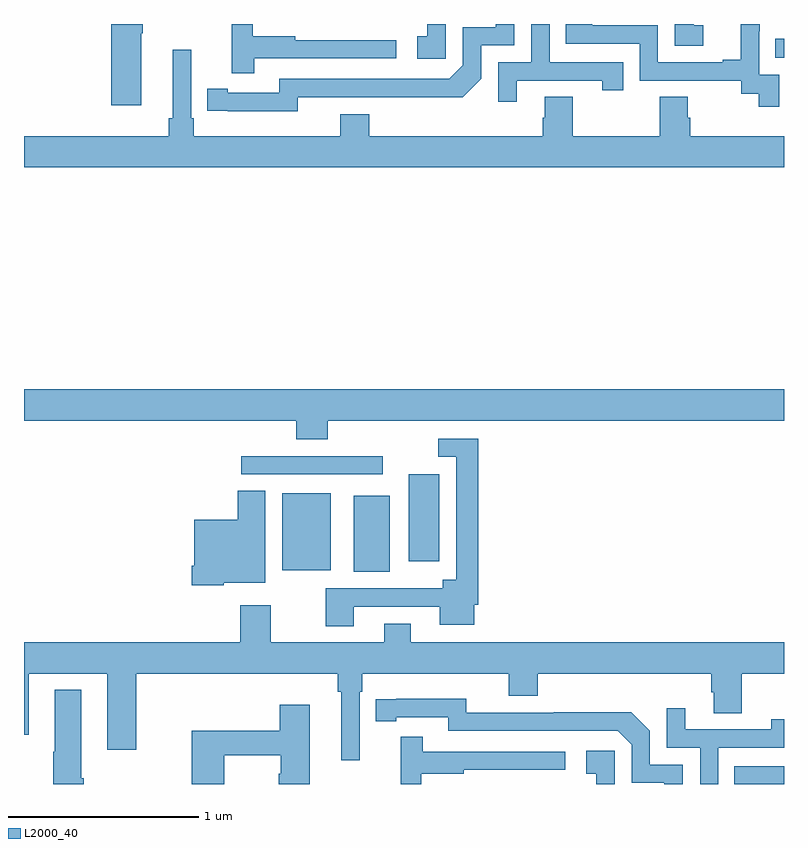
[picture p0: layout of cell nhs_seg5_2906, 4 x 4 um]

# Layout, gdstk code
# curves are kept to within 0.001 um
import gdstk
lib = gdstk.Library(unit=1e-6, precision=1e-09)
def R(c, l, rs):  # rectangles x0, y0, x1, y1
    for r in rs: c.add(gdstk.rectangle(r[:2], r[2:], *l))
def P(c, l, *ps):  # polygons
    for p in ps: c.add(gdstk.Polygon(p, *l))
L2000_40 = (2000, 40)

nhs_seg5_2906 = lib.new_cell('nhs_seg5_2906')
R(nhs_seg5_2906, L2000_40, [(282.739,902.799,283,902.892), (280.736,903.917,280.924,904.315), (280.358,903.923,280.615,904.33), (281.024,903.972,281.185,904.429), (280.143,904.428,280.888,904.524), (282.955,906.621,283,906.722)])
P(nhs_seg5_2906, L2000_40, [(281.22,906.799),(281.123,906.799),(281.123,906.735),(281.07,906.735),(281.07,906.615),(281.22,906.615)],
  [(280.211,906.618),(280.96,906.618),(280.96,906.714),(280.427,906.714),(280.427,906.734),(280.204,906.734),(280.204,906.799),(280.094,906.799),(280.094,906.54),(280.211,906.54)],
  [(282.975,906.531),(282.87,906.531),(282.87,906.761),(282.872,906.761),(282.872,906.799),(282.773,906.799),(282.773,906.61),(282.677,906.61),(282.677,906.597),(282.336,906.597),(282.336,906.792),(281.991,906.792),(281.991,906.799),(281.851,906.799),(281.851,906.696),(282.24,906.696),(282.24,906.501),(282.774,906.501),(282.774,906.433),(282.867,906.433),(282.867,906.363),(282.975,906.363)],
  [(279.616,906.751),(279.624,906.751),(279.624,906.799),(279.458,906.799),(279.458,906.372),(279.616,906.372)],
  [(282.574,906.793),(282.525,906.793),(282.525,906.799),(282.426,906.799),(282.426,906.684),(282.574,906.684)],
  [(280.44,906.414),(281.308,906.413),(281.406,906.51),(281.406,906.687),(281.58,906.687),(281.58,906.799),(281.483,906.799),(281.483,906.783),(281.31,906.783),(281.31,906.582),(281.238,906.51),(280.344,906.51),(280.344,906.438),(280.072,906.438),(280.072,906.458),(279.964,906.458),(279.964,906.342),(280.44,906.341)],
  [(281.593,906.501),(282.044,906.501),(282.044,906.45),(282.155,906.45),(282.155,906.597),(281.766,906.597),(281.766,906.799),(281.67,906.799),(281.67,906.597),(281.496,906.597),(281.496,906.39),(281.593,906.39)],
  [(283,906.208),(282.506,906.208),(282.506,906.306),(282.493,906.306),(282.493,906.416),(282.346,906.416),(282.346,906.208),(281.889,906.208),(281.889,906.416),(281.741,906.416),(281.741,906.306),(281.729,906.306),(281.729,906.208),(280.817,906.208),(280.817,906.325),(280.664,906.325),(280.664,906.208),(279.893,906.208),(279.893,906.304),(279.879,906.304),(279.879,906.664),(279.782,906.664),(279.782,906.304),(279.763,906.304),(279.763,906.208),(279,906.208),(279,906.044),(283,906.044)],
  [(280.598,904.712),(283,904.712),(283,904.876),(279,904.876),(279,904.712),(280.433,904.712),(280.433,904.613),(280.598,904.613)],
  [(280.735,903.732),(281.189,903.732),(281.189,903.638),(281.371,903.638),(281.371,903.742),(281.39,903.742),(281.39,904.617),(281.181,904.617),(281.181,904.521),(281.274,904.521),(281.274,903.874),(281.204,903.874),(281.204,903.828),(280.588,903.828),(280.588,903.63),(280.735,903.63)],
  [(280.05,903.857),(280.27,903.857),(280.27,904.343),(280.124,904.343),(280.124,904.189),(279.896,904.189),(279.896,903.949),(279.884,903.949),(279.884,903.845),(280.05,903.845)],
  [(281.035,903.643),(280.895,903.643),(280.895,903.544),(280.299,903.544),(280.299,903.739),(280.139,903.739),(280.139,903.544),(279,903.544),(279,903.057),(279.025,903.057),(279.025,903.38),(279.437,903.38),(279.437,902.979),(279.59,902.979),(279.59,903.38),(280.651,903.38),(280.651,903.284),(280.67,903.284),(280.67,902.925),(280.767,902.925),(280.767,903.284),(280.781,903.284),(280.781,903.38),(281.552,903.38),(281.552,903.263),(281.705,903.263),(281.705,903.38),(282.617,903.38),(282.617,903.282),(282.629,903.282),(282.629,903.172),(282.777,903.172),(282.777,903.38),(283,903.38),(283,903.544),(281.035,903.544)],
  [(279.314,902.83),(279.301,902.83),(279.301,903.295),(279.161,903.295),(279.161,902.969),(279.154,902.969),(279.154,902.799),(279.314,902.799)],
  [(282.468,902.901),(282.294,902.901),(282.294,903.078),(282.196,903.176),(281.788,903.176),(281.788,903.174),(281.328,903.174),(281.328,903.247),(280.852,903.246),(280.852,903.13),(280.96,903.13),(280.96,903.15),(281.232,903.15),(281.232,903.078),(282.126,903.078),(282.198,903.006),(282.198,902.805),(282.371,902.805),(282.371,902.799),(282.468,902.799)],
  [(280.054,902.95),(280.351,902.95),(280.351,902.853),(280.34,902.853),(280.34,902.799),(280.504,902.799),(280.504,903.217),(280.346,903.217),(280.346,903.079),(279.884,903.079),(279.884,902.799),(280.054,902.799)],
  [(282.654,902.991),(283,902.991),(283,903.139),(282.932,903.139),(282.932,903.087),(282.481,903.087),(282.481,903.199),(282.384,903.199),(282.384,902.991),(282.558,902.991),(282.558,902.799),(282.654,902.799)],
  [(281.092,902.854),(281.315,902.854),(281.315,902.874),(281.848,902.874),(281.848,902.97),(281.099,902.97),(281.099,903.049),(280.982,903.049),(280.982,902.799),(281.092,902.799)],
  [(282.108,902.974),(281.958,902.974),(281.958,902.853),(282.011,902.853),(282.011,902.799),(282.108,902.799)])

lib.write_gds('nhs_seg5_2906.gds')
